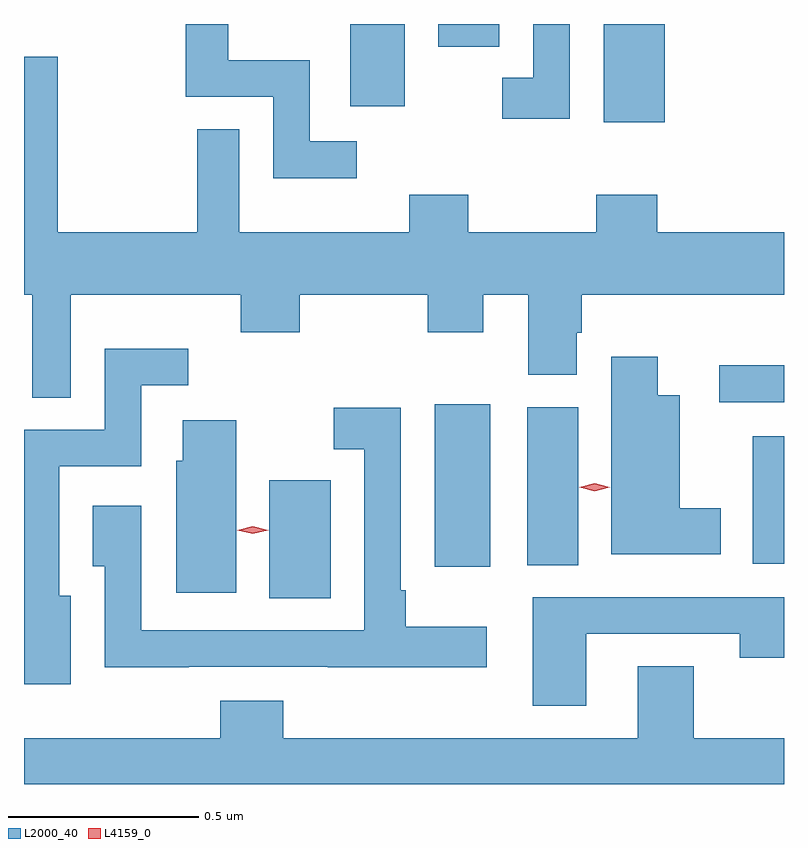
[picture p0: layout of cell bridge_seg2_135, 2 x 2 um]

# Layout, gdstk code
import gdstk
lib = gdstk.Library(unit=1e-6, precision=1e-09)
def R(c, l, rs):  # rectangles x0, y0, x1, y1
    for r in rs: c.add(gdstk.rectangle(r[:2], r[2:], *l))
def P(c, l, *ps):  # polygons
    for p in ps: c.add(gdstk.Polygon(p, *l))
L2000_40 = (2000, 40)
L4159_0 = (4159, 0)

bridge_seg2_135 = lib.new_cell('bridge_seg2_135')
R(bridge_seg2_135, L2000_40, [(426.422,593.557,426.583,593.868), (426.857,593.64,427.003,594.067), (427.1,593.644,427.234,594.06), (427.694,593.648,427.776,593.983), (427.605,594.072,427.776,594.17), (427.301,594.81,427.462,595.068), (426.635,594.852,426.778,595.068), (426.866,595.008,427.027,595.068)])
P(bridge_seg2_135, L2000_40, [(426.652,594.759),(426.528,594.759),(426.528,594.972),(426.313,594.972),(426.313,595.068),(426.202,595.068),(426.202,594.876),(426.432,594.876),(426.432,594.662),(426.652,594.662)],
  [(427.212,595.068),(427.116,595.068),(427.116,594.927),(427.035,594.927),(427.035,594.819),(427.212,594.819)],
  [(425.899,594.356),(426.346,594.356),(426.346,594.257),(426.501,594.257),(426.501,594.356),(426.838,594.356),(426.838,594.257),(426.985,594.257),(426.985,594.356),(427.103,594.356),(427.103,594.145),(427.231,594.145),(427.231,594.255),(427.244,594.255),(427.244,594.356),(427.776,594.356),(427.776,594.52),(427.442,594.52),(427.442,594.619),(427.282,594.619),(427.282,594.52),(426.945,594.52),(426.945,594.619),(426.79,594.619),(426.79,594.52),(426.343,594.52),(426.343,594.791),(426.232,594.791),(426.232,594.52),(425.865,594.52),(425.865,594.982),(425.776,594.982),(425.776,594.356),(425.798,594.356),(425.798,594.085),(425.899,594.085)],
  [(425.899,593.563),(425.869,593.563),(425.869,593.904),(426.084,593.904),(426.084,594.117),(426.208,594.117),(426.208,594.214),(425.988,594.214),(425.988,594),(425.776,594),(425.776,593.331),(425.899,593.331)],
  [(427.609,593.794),(427.501,593.794),(427.501,594.091),(427.444,594.091),(427.444,594.193),(427.322,594.193),(427.322,593.672),(427.609,593.672)],
  [(426.209,593.376),(426.575,593.376),(426.575,593.375),(426.994,593.375),(426.994,593.482),(426.781,593.482),(426.781,593.578),(426.768,593.578),(426.768,594.058),(426.591,594.058),(426.591,593.949),(426.672,593.949),(426.672,593.472),(426.084,593.472),(426.084,593.8),(425.957,593.8),(425.957,593.641),(425.988,593.641),(425.988,593.375),(426.209,593.375)],
  [(426.334,594.025),(426.194,594.025),(426.194,593.919),(426.176,593.919),(426.176,593.571),(426.334,593.571)],
  [(427.255,593.463),(427.66,593.463),(427.66,593.4),(427.776,593.4),(427.776,593.559),(427.115,593.559),(427.115,593.274),(427.255,593.274)],
  [(427.776,593.188),(427.539,593.188),(427.539,593.378),(427.391,593.378),(427.391,593.188),(426.458,593.188),(426.458,593.287),(426.293,593.287),(426.293,593.188),(425.776,593.188),(425.776,593.068),(427.776,593.068)])
P(bridge_seg2_135, L4159_0, [(427.278,593.839),(427.237,593.849),(427.237,593.849),(427.237,593.849),(427.278,593.859),(427.318,593.849),(427.318,593.849),(427.318,593.849)],
  [(426.378,593.726),(426.337,593.736),(426.337,593.736),(426.337,593.736),(426.378,593.746),(426.419,593.736),(426.419,593.736),(426.419,593.736)])

lib.write_gds('bridge_seg2_135.gds')
